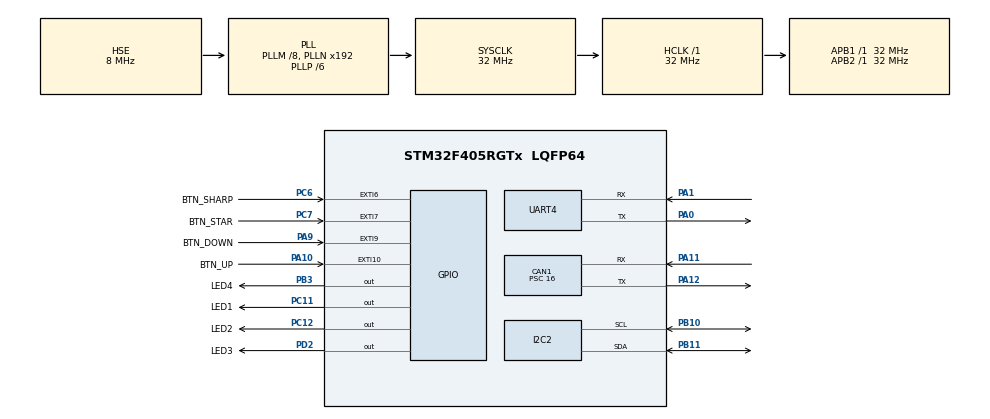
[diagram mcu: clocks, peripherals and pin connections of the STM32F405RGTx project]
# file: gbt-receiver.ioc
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CAN1.ABOM=ENABLE
CAN1.BS1=CAN_BS1_5TQ
CAN1.BS2=CAN_BS2_2TQ
CAN1.CalculateBaudRate=250000
CAN1.CalculateTimeBit=4000
CAN1.CalculateTimeQuantum=500.0
CAN1.Prescaler=16
CAN1.TXFP=ENABLE
Dma.Request0=UART4_TX
Dma.Request1=UART4_RX
Dma.UART4_RX.1.Direction=DMA_PERIPH_TO_MEMORY
Dma.UART4_RX.1.FIFOMode=DMA_FIFOMODE_DISABLE
Dma.UART4_RX.1.Instance=DMA1_Stream2
Dma.UART4_RX.1.MemDataAlignment=DMA_MDATAALIGN_BYTE
Dma.UART4_RX.1.MemInc=DMA_MINC_ENABLE
Dma.UART4_RX.1.Mode=DMA_NORMAL
Dma.UART4_RX.1.PeriphDataAlignment=DMA_PDATAALIGN_BYTE
Dma.UART4_RX.1.PeriphInc=DMA_PINC_DISABLE
Dma.UART4_RX.1.Priority=DMA_PRIORITY_LOW
Dma.UART4_TX.0.Direction=DMA_MEMORY_TO_PERIPH
Dma.UART4_TX.0.FIFOMode=DMA_FIFOMODE_DISABLE
Dma.UART4_TX.0.Instance=DMA1_Stream4
Dma.UART4_TX.0.MemDataAlignment=DMA_MDATAALIGN_BYTE
Dma.UART4_TX.0.MemInc=DMA_MINC_ENABLE
Dma.UART4_TX.0.Mode=DMA_NORMAL
Dma.UART4_TX.0.PeriphDataAlignment=DMA_PDATAALIGN_BYTE
Dma.UART4_TX.0.PeriphInc=DMA_PINC_DISABLE
Dma.UART4_TX.0.Priority=DMA_PRIORITY_LOW
I2C2.I2C_Mode=I2C_Fast
Mcu.Family=STM32F4
Mcu.Name=STM32F405RGTx
Mcu.Package=LQFP64
NVIC.CAN1_RX0_IRQn=true\:0\:0\:false\:false\:true\:true\:true\:true
NVIC.DMA1_Stream2_IRQn=true\:0\:0\:false\:false\:true\:false\:true\:true
NVIC.DMA1_Stream4_IRQn=true\:0\:0\:false\:false\:true\:false\:true\:true
NVIC.EXTI15_10_IRQn=true\:0\:0\:false\:false\:true\:true\:true\:true
NVIC.EXTI9_5_IRQn=true\:0\:0\:false\:false\:true\:true\:true\:true
NVIC.PriorityGroup=NVIC_PRIORITYGROUP_4
NVIC.UART4_IRQn=true\:0\:0\:false\:false\:true\:true\:true\:true
PA0-WKUP.Mode=Asynchronous
PA0-WKUP.Signal=UART4_TX
PA1.Mode=Asynchronous
PA1.Signal=UART4_RX
PA10.GPIO_Label=BTN_UP
PA10.GPIO_ModeDefaultEXTI=GPIO_MODE_IT_RISING_FALLING
PA10.Signal=GPXTI10
PA11.Mode=CAN_Activate
PA11.Signal=CAN1_RX
PA12.Mode=CAN_Activate
PA12.Signal=CAN1_TX
PA13.Mode=Serial_Wire
PA13.Signal=SYS_JTMS-SWDIO
PA14.Mode=Serial_Wire
PA14.Signal=SYS_JTCK-SWCLK
PA9.GPIO_Label=BTN_DOWN
PA9.GPIO_ModeDefaultEXTI=GPIO_MODE_IT_RISING_FALLING
PA9.Signal=GPXTI9
PB10.Mode=I2C
PB10.Signal=I2C2_SCL
PB11.Mode=I2C
PB11.Signal=I2C2_SDA
PB3.GPIO_Label=LED4
PB3.Signal=GPIO_Output
PC11.GPIO_Label=LED1
PC11.Signal=GPIO_Output
PC12.GPIO_Label=LED2
PC12.Signal=GPIO_Output
PC6.GPIO_Label=BTN_SHARP
PC6.GPIO_ModeDefaultEXTI=GPIO_MODE_IT_RISING_FALLING
PC6.Signal=GPXTI6
PC7.GPIO_Label=BTN_STAR
PC7.GPIO_ModeDefaultEXTI=GPIO_MODE_IT_RISING_FALLING
PC7.Signal=GPXTI7
PD2.GPIO_Label=LED3
PD2.Signal=GPIO_Output
PH0-OSC_IN.Mode=HSE-External-Oscillator
PH0-OSC_IN.Signal=RCC_OSC_IN
PH1-OSC_OUT.Mode=HSE-External-Oscillator
PH1-OSC_OUT.Signal=RCC_OSC_OUT
ProjectManager.HeapSize=0x200
ProjectManager.StackSize=0x400
ProjectManager.TargetToolchain=STM32CubeIDE
RCC.48MHZClocksFreq_Value=48000000
RCC.AHBFreq_Value=32000000
RCC.APB1Freq_Value=32000000
RCC.APB1TimFreq_Value=32000000
RCC.APB2Freq_Value=32000000
RCC.APB2TimFreq_Value=32000000
RCC.CortexFreq_Value=32000000
RCC.EnbaleCSS=true
RCC.HCLKFreq_Value=32000000
RCC.HSE_VALUE=8000000
RCC.HSI_VALUE=16000000
RCC.LSE_VALUE=32768
RCC.PLLM=8
RCC.PLLP=RCC_PLLP_DIV6
RCC.PLLSourceVirtual=RCC_PLLSOURCE_HSE
RCC.SYSCLKFreq_VALUE=32000000
RCC.SYSCLKSource=RCC_SYSCLKSOURCE_PLLCLK
RCC.VCOOutputFreq_Value=192000000
UART4.VirtualMode=Asynchronous
board=custom

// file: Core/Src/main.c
/* USER CODE BEGIN Header */
/**
  ******************************************************************************
  * @file           : main.c
  * @brief          : Main program body
  ******************************************************************************
  * @attention
  *
  * Copyright (c) 2025 STMicroelectronics.
  * All rights reserved.
  *
  * This software is licensed under terms that can be found in the LICENSE file
  * in the root directory of this software component.
  * If no LICENSE file comes with this software, it is provided AS-IS.
  *
  ******************************************************************************
  */
/* USER CODE END Header */
#include "main.h"

/* USER CODE BEGIN Includes */
#include <string.h>
#include <stdint.h>
#include <stdbool.h>
#include <stdio.h>
#include "helpers.h"
#include "can.h"
#include "gbt_27930_bms.h"
#include "display_ui.h"
/* USER CODE END Includes */

CAN_HandleTypeDef hcan1;

I2C_HandleTypeDef hi2c2;

UART_HandleTypeDef huart4;
DMA_HandleTypeDef hdma_uart4_tx;
DMA_HandleTypeDef hdma_uart4_rx;

void SystemClock_Config(void);
static void MX_GPIO_Init(void);
static void MX_DMA_Init(void);
static void MX_CAN1_Init(void);
static void MX_I2C2_Init(void);
static void MX_UART4_Init(void);

int main(void)
{

  /* MCU Configuration--------------------------------------------------------*/

  /* Reset of all peripherals, Initializes the Flash interface and the Systick. */
  HAL_Init();

  /* Configure the system clock */
  SystemClock_Config();

  /* Initialize all configured peripherals */
  MX_GPIO_Init();
  MX_DMA_Init();
  MX_CAN1_Init();
  MX_I2C2_Init();
  MX_UART4_Init();
  /* USER CODE BEGIN 2 */
  FlashLog_Init();
  SettingsStore_Init(); /* restore settings from flash before UI/charge setup */
  CanInit();
  LED(4);
  UI_Init();
  SetupCharge();
  /* USER CODE END 2 */

  /* Infinite loop */
  /* USER CODE BEGIN WHILE */
  while (1)
  {
	  LoopCharge();
	  UI_Loop();
    /* USER CODE END WHILE */

  }
}

void SystemClock_Config(void)
{
  RCC_OscInitTypeDef RCC_OscInitStruct = {0};
  RCC_ClkInitTypeDef RCC_ClkInitStruct = {0};

  /** Configure the main internal regulator output voltage
  */
  __HAL_RCC_PWR_CLK_ENABLE();
  __HAL_PWR_VOLTAGESCALING_CONFIG(PWR_REGULATOR_VOLTAGE_SCALE1);

  /** Initializes the RCC Oscillators according to the specified parameters
  * in the RCC_OscInitTypeDef structure.
  */
  RCC_OscInitStruct.OscillatorType = RCC_OSCILLATORTYPE_HSE;
  RCC_OscInitStruct.HSEState = RCC_HSE_ON;
  RCC_OscInitStruct.PLL.PLLState = RCC_PLL_ON;
  RCC_OscInitStruct.PLL.PLLSource = RCC_PLLSOURCE_HSE;
  RCC_OscInitStruct.PLL.PLLM = 8;
  RCC_OscInitStruct.PLL.PLLN = 192;
  RCC_OscInitStruct.PLL.PLLP = RCC_PLLP_DIV6;
  RCC_OscInitStruct.PLL.PLLQ = 4;
  if (HAL_RCC_OscConfig(&RCC_OscInitStruct) != HAL_OK)
  {
    Error_Handler();
  }

  /** Initializes the CPU, AHB and APB buses clocks
  */
  RCC_ClkInitStruct.ClockType = RCC_CLOCKTYPE_HCLK|RCC_CLOCKTYPE_SYSCLK
                              |RCC_CLOCKTYPE_PCLK1|RCC_CLOCKTYPE_PCLK2;
  RCC_ClkInitStruct.SYSCLKSource = RCC_SYSCLKSOURCE_PLLCLK;
  RCC_ClkInitStruct.AHBCLKDivider = RCC_SYSCLK_DIV1;
  RCC_ClkInitStruct.APB1CLKDivider = RCC_HCLK_DIV1;
  RCC_ClkInitStruct.APB2CLKDivider = RCC_HCLK_DIV1;

  if (HAL_RCC_ClockConfig(&RCC_ClkInitStruct, FLASH_LATENCY_1) != HAL_OK)
  {
    Error_Handler();
  }

  /** Enables the Clock Security System
  */
  HAL_RCC_EnableCSS();
}

static void MX_CAN1_Init(void)
{

  hcan1.Instance = CAN1;
  hcan1.Init.Prescaler = 16;
  hcan1.Init.Mode = CAN_MODE_NORMAL;
  hcan1.Init.SyncJumpWidth = CAN_SJW_1TQ;
  hcan1.Init.TimeSeg1 = CAN_BS1_5TQ;
  hcan1.Init.TimeSeg2 = CAN_BS2_2TQ;
  hcan1.Init.TimeTriggeredMode = DISABLE;
  hcan1.Init.AutoBusOff = ENABLE;
  hcan1.Init.AutoWakeUp = DISABLE;
  hcan1.Init.AutoRetransmission = DISABLE;
  hcan1.Init.ReceiveFifoLocked = DISABLE;
  hcan1.Init.TransmitFifoPriority = ENABLE;
  if (HAL_CAN_Init(&hcan1) != HAL_OK)
  {
    Error_Handler();
  }

}

static void MX_I2C2_Init(void)
{

  hi2c2.Instance = I2C2;
  hi2c2.Init.ClockSpeed = 400000;
  hi2c2.Init.DutyCycle = I2C_DUTYCYCLE_2;
  hi2c2.Init.OwnAddress1 = 0;
  hi2c2.Init.AddressingMode = I2C_ADDRESSINGMODE_7BIT;
  hi2c2.Init.DualAddressMode = I2C_DUALADDRESS_DISABLE;
  hi2c2.Init.OwnAddress2 = 0;
  hi2c2.Init.GeneralCallMode = I2C_GENERALCALL_DISABLE;
  hi2c2.Init.NoStretchMode = I2C_NOSTRETCH_DISABLE;
  if (HAL_I2C_Init(&hi2c2) != HAL_OK)
  {
    Error_Handler();
  }

}

static void MX_UART4_Init(void)
{

  huart4.Instance = UART4;
  huart4.Init.BaudRate = 115200;
  huart4.Init.WordLength = UART_WORDLENGTH_8B;
  huart4.Init.StopBits = UART_STOPBITS_1;
  huart4.Init.Parity = UART_PARITY_NONE;
  huart4.Init.Mode = UART_MODE_TX_RX;
  huart4.Init.HwFlowCtl = UART_HWCONTROL_NONE;
  huart4.Init.OverSampling = UART_OVERSAMPLING_16;
  if (HAL_UART_Init(&huart4) != HAL_OK)
  {
    Error_Handler();
  }

}

static void MX_DMA_Init(void)
{

  /* DMA controller clock enable */
  __HAL_RCC_DMA1_CLK_ENABLE();

  /* DMA interrupt init */
  /* DMA1_Stream2_IRQn interrupt configuration */
  HAL_NVIC_SetPriority(DMA1_Stream2_IRQn, 0, 0);
  HAL_NVIC_EnableIRQ(DMA1_Stream2_IRQn);
  /* DMA1_Stream4_IRQn interrupt configuration */
  HAL_NVIC_SetPriority(DMA1_Stream4_IRQn, 0, 0);
  HAL_NVIC_EnableIRQ(DMA1_Stream4_IRQn);

}

static void MX_GPIO_Init(void)
{
  GPIO_InitTypeDef GPIO_InitStruct = {0};

  /* GPIO Ports Clock Enable */
  __HAL_RCC_GPIOH_CLK_ENABLE();
  __HAL_RCC_GPIOA_CLK_ENABLE();
  __HAL_RCC_GPIOB_CLK_ENABLE();
  __HAL_RCC_GPIOC_CLK_ENABLE();
  __HAL_RCC_GPIOD_CLK_ENABLE();

  /*Configure GPIO pin Output Level */
  HAL_GPIO_WritePin(GPIOC, LED1_Pin|LED2_Pin, GPIO_PIN_RESET);

  /*Configure GPIO pin Output Level */
  HAL_GPIO_WritePin(LED3_GPIO_Port, LED3_Pin, GPIO_PIN_RESET);

  /*Configure GPIO pin Output Level */
  HAL_GPIO_WritePin(LED4_GPIO_Port, LED4_Pin, GPIO_PIN_RESET);

  /*Configure GPIO pins : BTN_SHARP_Pin BTN_STAR_Pin */
  GPIO_InitStruct.Pin = BTN_SHARP_Pin|BTN_STAR_Pin;
  GPIO_InitStruct.Mode = GPIO_MODE_IT_RISING_FALLING;
  GPIO_InitStruct.Pull = GPIO_NOPULL;
  HAL_GPIO_Init(GPIOC, &GPIO_InitStruct);

  /*Configure GPIO pins : BTN_DOWN_Pin BTN_UP_Pin */
  GPIO_InitStruct.Pin = BTN_DOWN_Pin|BTN_UP_Pin;
  GPIO_InitStruct.Mode = GPIO_MODE_IT_RISING_FALLING;
  GPIO_InitStruct.Pull = GPIO_NOPULL;
  HAL_GPIO_Init(GPIOA, &GPIO_InitStruct);

  /*Configure GPIO pins : LED1_Pin LED2_Pin */
  GPIO_InitStruct.Pin = LED1_Pin|LED2_Pin;
  GPIO_InitStruct.Mode = GPIO_MODE_OUTPUT_PP;
  GPIO_InitStruct.Pull = GPIO_NOPULL;
  GPIO_InitStruct.Speed = GPIO_SPEED_FREQ_LOW;
  HAL_GPIO_Init(GPIOC, &GPIO_InitStruct);

  /*Configure GPIO pin : LED3_Pin */
  GPIO_InitStruct.Pin = LED3_Pin;
  GPIO_InitStruct.Mode = GPIO_MODE_OUTPUT_PP;
  GPIO_InitStruct.Pull = GPIO_NOPULL;
  GPIO_InitStruct.Speed = GPIO_SPEED_FREQ_LOW;
  HAL_GPIO_Init(LED3_GPIO_Port, &GPIO_InitStruct);

  /*Configure GPIO pin : LED4_Pin */
  GPIO_InitStruct.Pin = LED4_Pin;
  GPIO_InitStruct.Mode = GPIO_MODE_OUTPUT_PP;
  GPIO_InitStruct.Pull = GPIO_NOPULL;
  GPIO_InitStruct.Speed = GPIO_SPEED_FREQ_LOW;
  HAL_GPIO_Init(LED4_GPIO_Port, &GPIO_InitStruct);

  /* EXTI interrupt init*/
  HAL_NVIC_SetPriority(EXTI9_5_IRQn, 0, 0);
  HAL_NVIC_EnableIRQ(EXTI9_5_IRQn);

  HAL_NVIC_SetPriority(EXTI15_10_IRQn, 0, 0);
  HAL_NVIC_EnableIRQ(EXTI15_10_IRQn);

}

/* USER CODE BEGIN 4 */

void HAL_GPIO_EXTI_Callback(uint16_t GPIO_Pin)
{
  UI_OnButtonInterrupt(GPIO_Pin);
}

/* USER CODE END 4 */

void Error_Handler(void)
{
  __disable_irq();
  while (1)
  {
  }
}
